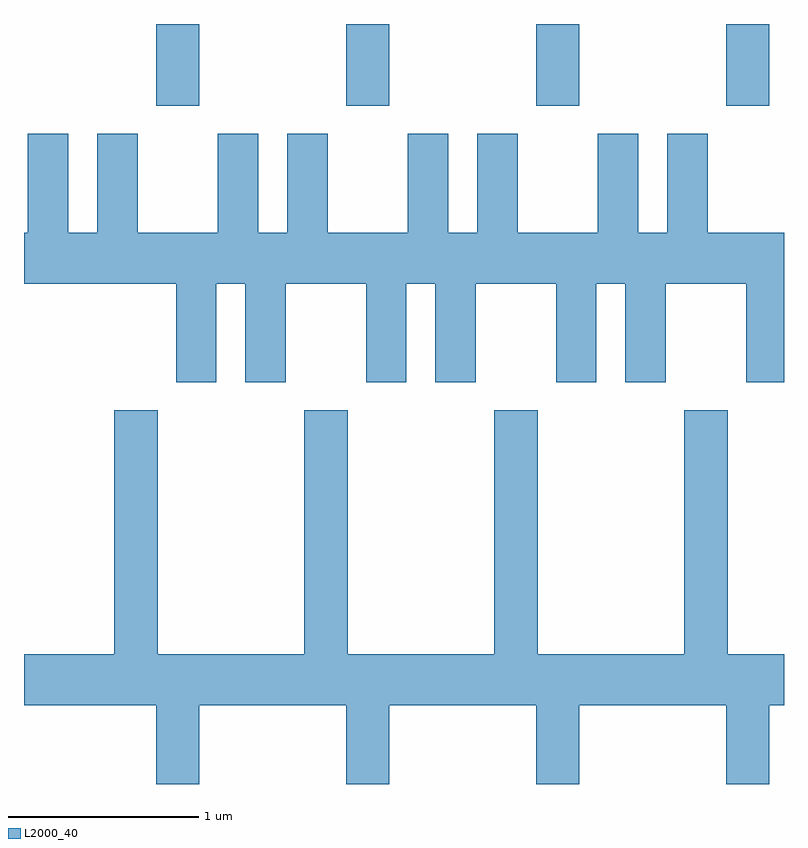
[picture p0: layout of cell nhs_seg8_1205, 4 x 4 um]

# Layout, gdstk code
import gdstk
lib = gdstk.Library(unit=1e-6, precision=1e-09)
def R(c, l, rs):  # rectangles x0, y0, x1, y1
    for r in rs: c.add(gdstk.rectangle(r[:2], r[2:], *l))
def A(c, l, x, y, w, h, nx, ny, dx, dy):  # array of equal rectangles
    R(c, l, [(x+i*dx, y+j*dy, x+i*dx+w, y+j*dy+h) for i in range(nx) for j in range(ny)])
def P(c, l, *ps):  # polygons
    for p in ps: c.add(gdstk.Polygon(p, *l))
L2000_40 = (2000, 40)

nhs_seg8_1205 = lib.new_cell('nhs_seg8_1205')
A(nhs_seg8_1205, L2000_40, 220.306, 1943.911, 0.228, 0.431, 4, 1, 1, 0)
P(nhs_seg8_1205, L2000_40, [(220.624,1942.976),(220.776,1942.976),(220.776,1942.456),(220.989,1942.456),(220.989,1942.976),(221.411,1942.976),(221.411,1942.456),(221.624,1942.456),(221.624,1942.976),(221.776,1942.976),(221.776,1942.456),(221.989,1942.456),(221.989,1942.976),(222.411,1942.976),(222.411,1942.456),(222.624,1942.456),(222.624,1942.976),(222.776,1942.976),(222.776,1942.456),(222.989,1942.456),(222.989,1942.976),(223.411,1942.976),(223.411,1942.456),(223.611,1942.456),(223.611,1943.244),(223.209,1943.244),(223.209,1943.764),(222.996,1943.764),(222.996,1943.244),(222.844,1943.244),(222.844,1943.764),(222.631,1943.764),(222.631,1943.244),(222.209,1943.244),(222.209,1943.764),(221.996,1943.764),(221.996,1943.244),(221.844,1943.244),(221.844,1943.764),(221.631,1943.764),(221.631,1943.244),(221.209,1943.244),(221.209,1943.764),(220.996,1943.764),(220.996,1943.244),(220.844,1943.244),(220.844,1943.764),(220.631,1943.764),(220.631,1943.244),(220.209,1943.244),(220.209,1943.764),(219.996,1943.764),(219.996,1943.244),(219.844,1943.244),(219.844,1943.764),(219.631,1943.764),(219.631,1943.244),(219.611,1943.244),(219.611,1942.976),(220.411,1942.976),(220.411,1942.456),(220.624,1942.456)],
  [(220.534,1940.756),(221.306,1940.756),(221.306,1940.342),(221.534,1940.342),(221.534,1940.756),(222.306,1940.756),(222.306,1940.342),(222.534,1940.342),(222.534,1940.756),(223.306,1940.756),(223.306,1940.342),(223.534,1940.342),(223.534,1940.756),(223.611,1940.756),(223.611,1941.024),(223.314,1941.024),(223.314,1942.309),(223.086,1942.309),(223.086,1941.024),(222.314,1941.024),(222.314,1942.309),(222.086,1942.309),(222.086,1941.024),(221.314,1941.024),(221.314,1942.309),(221.086,1942.309),(221.086,1941.024),(220.314,1941.024),(220.314,1942.309),(220.086,1942.309),(220.086,1941.024),(219.611,1941.024),(219.611,1940.756),(220.306,1940.756),(220.306,1940.342),(220.534,1940.342)])

lib.write_gds('nhs_seg8_1205.gds')
